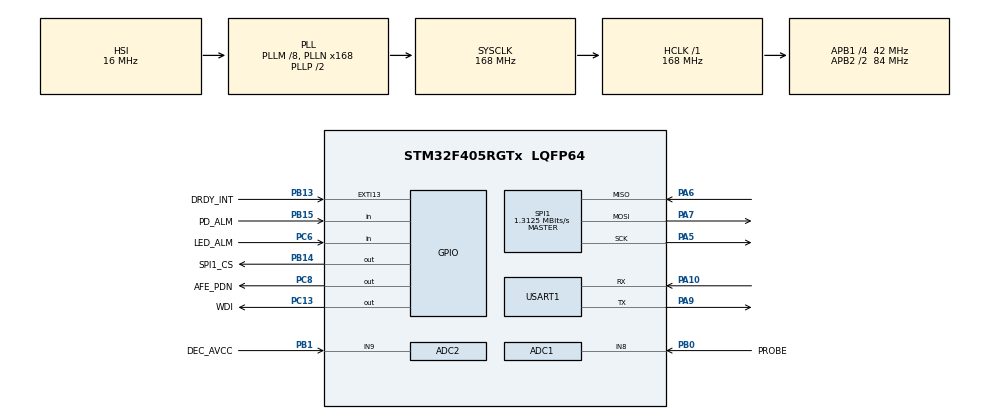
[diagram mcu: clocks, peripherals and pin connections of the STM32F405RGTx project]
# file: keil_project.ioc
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ADC1.Channel-0\#ChannelRegularConversion=ADC_CHANNEL_8
ADC1.NbrOfConversionFlag=1
ADC1.Rank-0\#ChannelRegularConversion=1
ADC1.SamplingTime-0\#ChannelRegularConversion=ADC_SAMPLETIME_3CYCLES
ADC1.master=1
ADC2.Channel-0\#ChannelRegularConversion=ADC_CHANNEL_9
ADC2.NbrOfConversionFlag=1
ADC2.Rank-0\#ChannelRegularConversion=1
ADC2.SamplingTime-0\#ChannelRegularConversion=ADC_SAMPLETIME_3CYCLES
Mcu.Family=STM32F4
Mcu.Name=STM32F405RGTx
Mcu.Package=LQFP64
NVIC.EXTI15_10_IRQn=true\:0\:0\:false\:false\:true\:true\:true\:true
NVIC.PriorityGroup=NVIC_PRIORITYGROUP_4
PA10.Mode=Asynchronous
PA10.Signal=USART1_RX
PA13.Mode=Serial_Wire
PA13.Signal=SYS_JTMS-SWDIO
PA14.Mode=Serial_Wire
PA14.Signal=SYS_JTCK-SWCLK
PA5.Mode=Full_Duplex_Master
PA5.Signal=SPI1_SCK
PA6.Mode=Full_Duplex_Master
PA6.Signal=SPI1_MISO
PA7.Mode=Full_Duplex_Master
PA7.Signal=SPI1_MOSI
PA9.Mode=Asynchronous
PA9.Signal=USART1_TX
PB0.GPIO_Label=PROBE
PB0.Signal=ADCx_IN8
PB1.GPIO_Label=DEC_AVCC
PB1.Signal=ADCx_IN9
PB13.GPIO_Label=DRDY_INT
PB13.Signal=GPXTI13
PB14.GPIO_Label=SPI1_CS
PB14.Signal=GPIO_Output
PB15.GPIO_Label=PD_ALM
PB15.GPIO_PuPd=GPIO_PULLUP
PB15.Signal=GPIO_Input
PC13-ANTI_TAMP.GPIO_Label=WDI
PC13-ANTI_TAMP.Signal=GPIO_Output
PC6.GPIO_Label=LED_ALM
PC6.Signal=GPIO_Input
PC8.GPIO_Label=AFE_PDN
PC8.Signal=GPIO_Output
PH0-OSC_IN.Mode=HSE-External-Oscillator
PH0-OSC_IN.Signal=RCC_OSC_IN
PH1-OSC_OUT.Mode=HSE-External-Oscillator
PH1-OSC_OUT.Signal=RCC_OSC_OUT
ProjectManager.HeapSize=0x200
ProjectManager.StackSize=0x400
ProjectManager.TargetToolchain=MDK-ARM V5.32
RCC.48MHZClocksFreq_Value=84000000
RCC.AHBFreq_Value=168000000
RCC.APB1CLKDivider=RCC_HCLK_DIV4
RCC.APB1Freq_Value=42000000
RCC.APB1TimFreq_Value=84000000
RCC.APB2CLKDivider=RCC_HCLK_DIV2
RCC.APB2Freq_Value=84000000
RCC.APB2TimFreq_Value=168000000
RCC.CortexFreq_Value=168000000
RCC.HCLKFreq_Value=168000000
RCC.HSE_VALUE=25000000
RCC.HSI_VALUE=16000000
RCC.LSE_VALUE=32768
RCC.PLLM=8
RCC.PLLN=168
RCC.SYSCLKFreq_VALUE=168000000
RCC.SYSCLKSource=RCC_SYSCLKSOURCE_PLLCLK
RCC.VCOOutputFreq_Value=336000000
SH.ADCx_IN8.0=ADC1_IN8,IN8
SH.ADCx_IN9.0=ADC2_IN9,IN9
SPI1.BaudRatePrescaler=SPI_BAUDRATEPRESCALER_64
SPI1.CalculateBaudRate=1.3125 MBits/s
SPI1.Direction=SPI_DIRECTION_2LINES
SPI1.Mode=SPI_MODE_MASTER
SPI1.VirtualType=VM_MASTER
STMicroelectronics.X-CUBE-ALGOBUILD.1.4.0.LibraryCcDSPOoLibraryJjDSPOoLibrary=true
USART1.VirtualMode=VM_ASYNC
VP_STMicroelectronics.X-CUBE-ALGOBUILD_VS_DSPOoLibraryJjLibrary_1.4.0_1.4.0.Mode=DSPOoLibraryJjLibrary
board=custom

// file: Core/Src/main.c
/* USER CODE BEGIN Header */
/**
  ******************************************************************************
  * @file           : main.c
  * @brief          : Main program body
  ******************************************************************************
  * @attention
  *
  * Copyright (c) 2026 STMicroelectronics.
  * All rights reserved.
  *
  * This software is licensed under terms that can be found in the LICENSE file
  * in the root directory of this software component.
  * If no LICENSE file comes with this software, it is provided AS-IS.
  *
  ******************************************************************************
  */
/* USER CODE END Header */
#include "main.h"
#include "adc.h"
#include "spi.h"
#include "usart.h"
#include "gpio.h"

//蓝锐鑫到此一游
//龙子鸣到此一游

/* USER CODE BEGIN Includes */
#include "Queue.h"
#include "afe4490.h"
#include "stdio.h"
#include "serial.h"
#include "afe4490_agc.h"
#include "FIR.h"
#include "math.h"
#include "calculate.h"
#include "MovingAvg.h"

/* USER CODE END Includes */

/* USER CODE BEGIN PTD */
StructCirQue pQue1, pQue2,pQue3,pQue4;

/* USER CODE END PTD */

/* USER CODE BEGIN PD */
afe44xx_data data;
int32_t IRABSVAL_data[FFT_SIZE], REDABSVAL_data[FFT_SIZE];
int32_t IR_data[FFT_SIZE], RED_data[FFT_SIZE];

static uint16_t index = 0;
static int32_t ir_accum = 0;
static int32_t red_accum = 0;
static int32_t IRABSVAL_accum = 0;
static int32_t REDABSVAL_accum = 0;
static uint8_t avg_count = 0;

int32_t ir_raw = 0, red_raw = 0;
int32_t IRABSVAL_raw = 0, REDABSVAL_raw = 0;

float g_pga_red = 1.0f;
float R_pga_red = 0.1f;
float g_pga_ir = 1.0f;
float R_pga_ir = 0.1f;
ChannelFilter ir_ma_filter;
ChannelFilter red_ma_filter;
ChannelFilter SPO2_ma_filter;
ChannelFilter HR_ma_filter;
#define AVG_WINDOW 256
float32_t ir_history[AVG_WINDOW] = {0.0f};
float32_t red_history[AVG_WINDOW] = {0.0f};
uint32_t write_idx = 0;
/* USER CODE END PD */

void SystemClock_Config(void);

int main(void)
{

  /* MCU Configuration--------------------------------------------------------*/

  /* Reset of all peripherals, Initializes the Flash interface and the Systick. */
  HAL_Init();

  /* Configure the system clock */
  SystemClock_Config();

  /* Initialize all configured peripherals */
  MX_GPIO_Init();
  MX_ADC1_Init();
  MX_ADC2_Init();
  MX_SPI1_Init();
  MX_USART1_UART_Init();
  /* USER CODE BEGIN 2 */
  InitQueue(&pQue1, IR_data, FFT_SIZE);
  InitQueue(&pQue2, RED_data, FFT_SIZE);
  InitQueue(&pQue3, IRABSVAL_data, FFT_SIZE);
  InitQueue(&pQue4, REDABSVAL_data, FFT_SIZE);
  hAFE44xx.init();
  FIR_InitFromFdacoefs(2);  // IR + RED
  agc_init();
  Calculate_Init();
  DualMovingAvg_Init(&ir_ma_filter,&red_ma_filter,&SPO2_ma_filter,&HR_ma_filter);

  /* USER CODE END 2 */

  /* Infinite loop */
  while (1)
    {

      /* USER CODE BEGIN 3 */
      if (DeQueue(&pQue1, &ir_raw, 1) && DeQueue(&pQue2, &red_raw, 1)&&DeQueue(&pQue3, &IRABSVAL_raw, 1) && DeQueue(&pQue4, &REDABSVAL_raw, 1))
        {
          ir_accum += ir_raw;
          red_accum += red_raw;
          IRABSVAL_accum+=IRABSVAL_raw;
          REDABSVAL_accum+=REDABSVAL_raw;
          avg_count++;

          if (avg_count >= 8)
            {
              int32_t ir_avg =( ir_accum / 8);
              int32_t red_avg = (red_accum / 8);
              int32_t IRABSVAL_avg =( IRABSVAL_accum / 8);
              int32_t REDABSVAL_avg = (REDABSVAL_accum / 8);
              ir_accum = 0;
              red_accum = 0;
              IRABSVAL_accum=0;
              REDABSVAL_accum=0;
              avg_count = 0;

              switch(agc.ir_pga)
                {
                case PGA_1X:g_pga_ir = 1.0f;R_pga_ir=0.1f;break;
                case PGA_1_5X:g_pga_ir = 1.5f;R_pga_ir=0.15f;break;
                case PGA_2X:g_pga_ir = 2.0f;R_pga_ir=0.2f;break;
                case PGA_3X:g_pga_ir = 3.0f;R_pga_ir=0.3f;break;
                case PGA_4X:g_pga_ir = 4.0f;R_pga_ir=0.4f;break;
                }
              switch(agc.red_pga)
                {
                case PGA_1X:g_pga_red = 1.0f;R_pga_red=0.1f;break;
                case PGA_1_5X:g_pga_red = 1.5f;R_pga_red=0.15f;break;
                case PGA_2X:g_pga_red = 2.0f;R_pga_red=0.2f;break;
                case PGA_3X:g_pga_red = 3.0f;R_pga_red=0.3f;break;
                case PGA_4X:g_pga_red = 4.0f;R_pga_red=0.4f;break;
                }
//int32_t ir_true  = (int32_t)( (float)ir_avg + 2*(double)agc.ambdac_code * R_pga_ir/(0.000000572f)  );
//int32_t red_true = (int32_t)( (float)red_avg + 2*(double)agc.ambdac_code * R_pga_red/(0.000000572f)  );
              int32_t ir_filt = FIR_ProcessSample(0, (float)(-abs(IRABSVAL_avg)));
              int32_t red_filt = FIR_ProcessSample(1, (float)(-abs(REDABSVAL_avg)));
              //   afe_adjust(1, PGA_1X, 1, PGA_1X, led_ma_to_code(a), led_ma_to_code(b), agc.ambdac_code);

              float smoothed_ir = DualMovingAvg_ProcessIR(&ir_ma_filter, (float)ir_filt);//fir滤波之后平滑
              float smoothed_red = DualMovingAvg_ProcessRED(&red_ma_filter, (float)red_filt); //fir滤波之后平滑

              agc_push_sample(abs(IRABSVAL_avg),abs(REDABSVAL_avg),ir_avg,red_avg);  //AGC调光传入参数
              Calculate_Update(abs(IRABSVAL_avg),abs(REDABSVAL_avg), smoothed_ir, smoothed_red);  //血氧以及心率计算
              float P = Calculate_GetPI()*1000;
              float R = Calculate_GetR()*1000;
              float spo2 = Calculate_GetSpO2();
							float smoothed_spo2 ;
              if(spo2>=30&&spo2<=100) smoothed_spo2 = DualMovingAvg_ProcessSPO2(&SPO2_ma_filter, (float)spo2);   //血氧平滑

              uint8_t HR = Calculate_GetHeartRate();
              float smoothed_HR = DualMovingAvg_ProcessHR(&HR_ma_filter, (float)HR);   //心率平滑
							float pi_val = Calculate_GetPI()*1000;
              if(agc.finger_off == false) send_plot_data((int32_t)smoothed_ir, (int32_t)smoothed_red, (int32_t)smoothed_spo2, (int32_t)smoothed_HR);
              if(agc.finger_off == true)  send_plot_data((int32_t)0, (int32_t)0, (int32_t)0, (int32_t)0);

            }
        }
    }
  /* USER CODE END 3 */
}

void SystemClock_Config(void)
{
  RCC_OscInitTypeDef RCC_OscInitStruct = {0};
  RCC_ClkInitTypeDef RCC_ClkInitStruct = {0};

  /** Configure the main internal regulator output voltage
  */
  __HAL_RCC_PWR_CLK_ENABLE();
  __HAL_PWR_VOLTAGESCALING_CONFIG(PWR_REGULATOR_VOLTAGE_SCALE1);

  /** Initializes the RCC Oscillators according to the specified parameters
  * in the RCC_OscInitTypeDef structure.
  */
  RCC_OscInitStruct.OscillatorType = RCC_OSCILLATORTYPE_HSI;
  RCC_OscInitStruct.HSIState = RCC_HSI_ON;
  RCC_OscInitStruct.HSICalibrationValue = RCC_HSICALIBRATION_DEFAULT;
  RCC_OscInitStruct.PLL.PLLState = RCC_PLL_ON;
  RCC_OscInitStruct.PLL.PLLSource = RCC_PLLSOURCE_HSI;
  RCC_OscInitStruct.PLL.PLLM = 8;
  RCC_OscInitStruct.PLL.PLLN = 168;
  RCC_OscInitStruct.PLL.PLLP = RCC_PLLP_DIV2;
  RCC_OscInitStruct.PLL.PLLQ = 4;
  if (HAL_RCC_OscConfig(&RCC_OscInitStruct) != HAL_OK)
    {
      Error_Handler();
    }

  /** Initializes the CPU, AHB and APB buses clocks
  */
  RCC_ClkInitStruct.ClockType = RCC_CLOCKTYPE_HCLK|RCC_CLOCKTYPE_SYSCLK
                                |RCC_CLOCKTYPE_PCLK1|RCC_CLOCKTYPE_PCLK2;
  RCC_ClkInitStruct.SYSCLKSource = RCC_SYSCLKSOURCE_PLLCLK;
  RCC_ClkInitStruct.AHBCLKDivider = RCC_SYSCLK_DIV1;
  RCC_ClkInitStruct.APB1CLKDivider = RCC_HCLK_DIV4;
  RCC_ClkInitStruct.APB2CLKDivider = RCC_HCLK_DIV2;

  if (HAL_RCC_ClockConfig(&RCC_ClkInitStruct, FLASH_LATENCY_5) != HAL_OK)
    {
      Error_Handler();
    }
}

void Error_Handler(void)
{
  __disable_irq();
  while (1)
    {
    }
}
